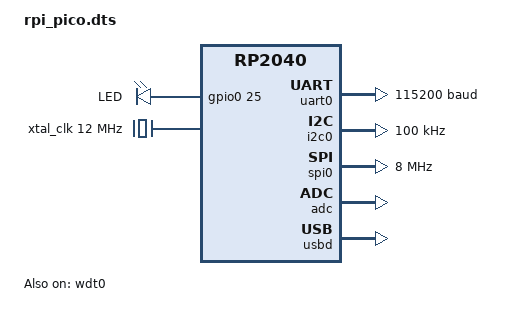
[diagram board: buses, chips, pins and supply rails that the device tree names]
/*
 * Copyright (c) 2021 Yonatan Schachter
 *
 * SPDX-License-Identifier: Apache-2.0
 */

/dts-v1/;

#include <freq.h>

#include <rpi_pico/rp2040.dtsi>
#include "rpi_pico-pinctrl.dtsi"
#include <zephyr/dt-bindings/pwm/pwm.h>

#include <zephyr/dt-bindings/i2c/i2c.h>

/ {
	chosen {
		zephyr,sram = &sram0;
		zephyr,flash = &flash0;
		zephyr,flash-controller = &ssi;
		zephyr,console = &uart0;
		zephyr,shell-uart = &uart0;
		zephyr,code-partition = &code_partition;
	};

	leds {
		compatible = "gpio-leds";
		led0: led_0 {
			gpios = <&gpio0 25 GPIO_ACTIVE_HIGH>;
			label = "LED";
		};
	};

	xtal_clk: xtal-clk {
		compatible = "fixed-clock";
		clock-frequency = <12000000>;
		#clock-cells = <0>;
	};

	pwm_leds {
		compatible = "pwm-leds";
		status = "disabled";
		pwm_led0: pwm_led_0 {
			pwms = <&pwm 9 PWM_MSEC(20) PWM_POLARITY_NORMAL>;
			label = "PWM_LED";
		};
	};

	aliases {
		led0 = &led0;
		watchdog0 = &wdt0;
		pwm-led0 = &pwm_led0;
	};
};

&flash0 {
	reg = <0x10000000 DT_SIZE_M(2)>;

	partitions {
		compatible = "fixed-partitions";
		#address-cells = <1>;
		#size-cells = <1>;

		/* Reserved memory for the second stage bootloader */
		second_stage_bootloader: partition@0 {
			label = "second_stage_bootloader";
			reg = <0x00000000 0x100>;
			read-only;
		};

		/*
		 * Usable flash. Starts at 0x100, after the bootloader. The partition
		 * size is 2MB minus the 0x100 bytes taken by the bootloader.
		 */
		code_partition: partition@100 {
			label = "code-partition";
			reg = <0x100 (DT_SIZE_M(2) - 0x100)>;
			read-only;
		};
	};
};

&uart0 {
	current-speed = <115200>;
	status = "okay";
	pinctrl-0 = <&uart0_default>;
	pinctrl-names = "default";
};

&gpio0 {
	status = "okay";
};

&i2c0 {
	clock-frequency = <I2C_BITRATE_STANDARD>;
	status = "okay";
	pinctrl-0 = <&i2c0_default>;
	pinctrl-names = "default";
};

&spi0 {
	clock-frequency = <DT_FREQ_M(8)>;
	status = "okay";
	pinctrl-0 = <&spi0_default>;
	pinctrl-names = "default";
};

&wdt0 {
	status = "okay";
};

&adc {
	status = "okay";
	pinctrl-0 = <&adc_default>;
	pinctrl-names = "default";
};

zephyr_udc0: &usbd {
	status = "okay";
};

&pwm {
	pinctrl-0 = <&pwm_ch4b_default>;
	pinctrl-names = "default";
	divider-int-0 = <255>;
};
